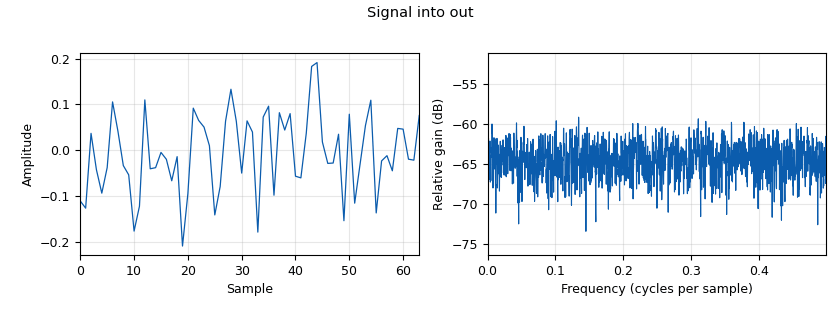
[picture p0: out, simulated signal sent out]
<?xml version='1.0' encoding='utf-8'?>
<?grc format='1' created='3.7.11'?>
<flow_graph>
<block>
<key>options</key>
<param><key>id</key><value>noise_hier</value></param>
<param><key>category</key><value>[Noise]</value></param>
<param><key>generate_options</key><value>hb</value></param>
</block>
<block>
<key>parameter</key>
<param><key>id</key><value>amplitude</value></param>
<param><key>type</key><value>eng_float</value></param>
<param><key>value</key><value>0.1</value></param>
</block>
<block>
<key>analog_noise_source_x</key>
<param><key>id</key><value>noise</value></param>
<param><key>amp</key><value>amplitude</value></param>
<param><key>noise_type</key><value>analog.GR_GAUSSIAN</value></param>
<param><key>type</key><value>float</value></param>
<param><key>seed</key><value>0</value></param>
</block>
<block>
<key>pad_sink</key>
<param><key>id</key><value>out</value></param>
<param><key>type</key><value>float</value></param>
</block>
<connection><source_block_id>noise</source_block_id><sink_block_id>out</sink_block_id><source_key>0</source_key><sink_key>0</sink_key></connection>
</flow_graph>
